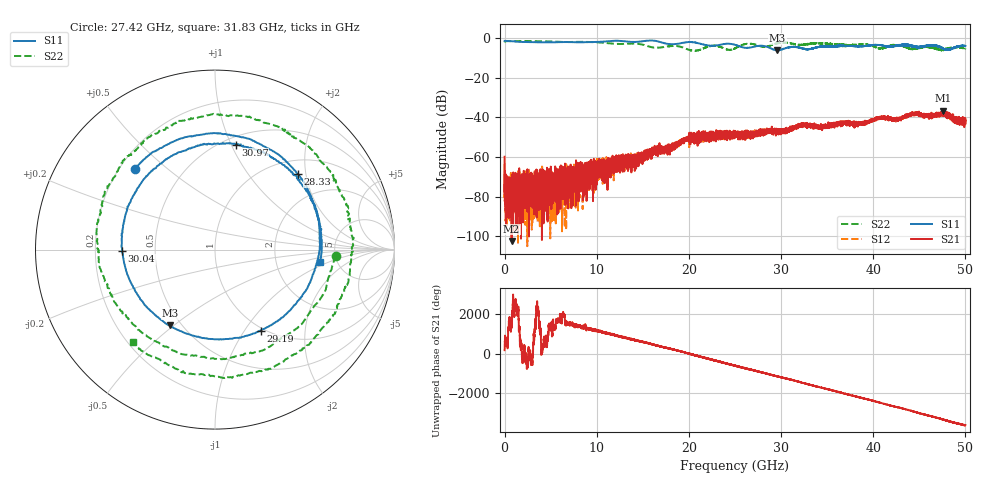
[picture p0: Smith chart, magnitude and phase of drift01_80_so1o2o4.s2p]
!Created with skrf (http://scikit-rf.org).
# Hz S RI R 50.0
!freq ReS11 ImS11 ReS21 ImS21 ReS12 ImS12 ReS22 ImS22
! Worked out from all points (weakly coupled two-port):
!   10001 points, 300 kHz to 50 GHz, reference 50 ohm
!   highest |S21| = -36.59 dB at 47.59 GHz (marker M1); lowest = -102.5 dB at 760.3 MHz (marker M2)
!   lowest |S11| = -6.2 dB at 29.61 GHz (marker M3), VSWR 2.93, Z = 21.8 - j24.3 ohm
!   |S11| at or under -10 dB: nowhere
!   |S22| runs from -6.4 to -1.4 dB; largest |S21 - S12| = 0.004
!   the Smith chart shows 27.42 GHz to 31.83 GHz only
!   S11 on the Smith chart (normalised r, x): 27.42 GHz: 0.26, +0.39; 28.33 GHz: 1.30, +1.81; 29.19 GHz: 0.96, -1.19; 30.04 GHz: 0.32, -0.01; 30.97 GHz: 0.57, +1.04; 31.83 GHz: 3.70, -0.81
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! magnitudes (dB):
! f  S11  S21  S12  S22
! 300 kHz  -1.3  -59.9  -63.5  -2.1
! 255.3 MHz  -1.4  -81.2  -78.8  -1.4
! 760.3 MHz  -1.5  -102.5  -73.7  -1.5
! 4.605 GHz  -2.1  -70.9  -70.2  -1.6
! 5.22 GHz  -2.0  -71.4  -73.5  -1.6
! 8.335 GHz  -2.0  -67.3  -66.2  -1.8
! 16.67 GHz  -1.6  -56.9  -56.2  -4.8
! 18.62 GHz  -2.9  -54.0  -52.7  -3.9
! 20.25 GHz  -1.9  -48.2  -49.8  -6.1
! 22.62 GHz  -3.8  -49.4  -49.2  -3.8
! 25 GHz  -3.3  -49.3  -48.1  -5.0
! 27.42 GHz  -3.9  -48.1  -48.7  -3.4
! 28.33 GHz  -4.1  -46.4  -48.1  -4.3
! 29.19 GHz  -5.7  -48.0  -47.0  -3.0
! 29.61 GHz  -6.2  -47.7  -47.1  -2.6
! 30.04 GHz  -5.7  -47.5  -47.3  -2.3
! 30.97 GHz  -4.5  -46.3  -46.4  -2.4
! 31.83 GHz  -4.6  -45.1  -44.5  -3.3
! 33.34 GHz  -5.2  -44.8  -43.8  -2.7
! 41.67 GHz  -4.3  -40.8  -40.6  -4.0
! 47.59 GHz  -5.2  -36.6  -38.0  -6.1
! 50 GHz  -3.8  -40.8  -41.7  -5.2
